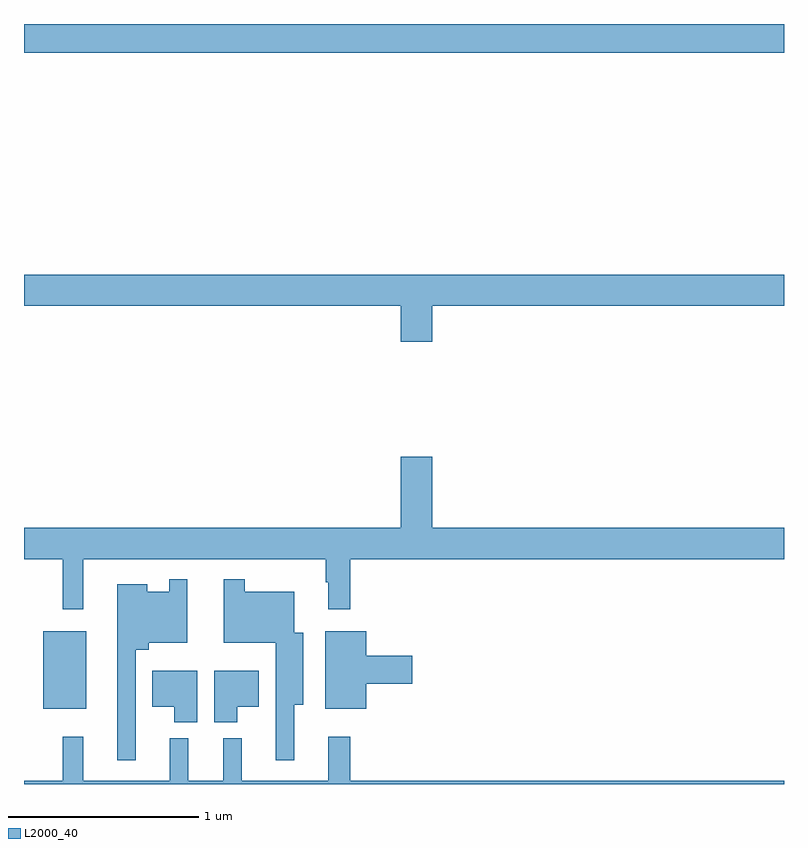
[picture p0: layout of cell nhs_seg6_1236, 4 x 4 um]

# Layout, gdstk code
import gdstk
lib = gdstk.Library(unit=1e-6, precision=1e-09)
def R(c, l, rs):  # rectangles x0, y0, x1, y1
    for r in rs: c.add(gdstk.rectangle(r[:2], r[2:], *l))
def P(c, l, *ps):  # polygons
    for p in ps: c.add(gdstk.Polygon(p, *l))
L2000_40 = (2000, 40)

nhs_seg6_1236 = lib.new_cell('nhs_seg6_1236')
R(nhs_seg6_1236, L2000_40, [(187.1,931.895,187.327,932.305), (187,935.348,191,935.5)])
P(nhs_seg6_1236, L2000_40, [(189.148,934.016),(191,934.016),(191,934.18),(187,934.18),(187,934.016),(188.984,934.016),(188.984,933.828),(189.148,933.828)],
  [(187.312,932.684),(188.589,932.684),(188.589,932.561),(188.6,932.561),(188.6,932.421),(188.717,932.421),(188.717,932.684),(191,932.684),(191,932.848),(189.148,932.848),(189.148,933.223),(188.984,933.223),(188.984,932.848),(187,932.848),(187,932.684),(187.203,932.684),(187.203,932.421),(187.312,932.421)],
  [(188.423,931.916),(188.47,931.916),(188.47,932.296),(188.422,932.296),(188.422,932.512),(188.161,932.512),(188.161,932.578),(188.052,932.578),(188.052,932.243),(188.325,932.243),(188.325,931.626),(188.423,931.626)],
  [(187.587,932.207),(187.656,932.207),(187.656,932.243),(187.86,932.243),(187.86,932.578),(187.764,932.578),(187.764,932.512),(187.648,932.512),(187.648,932.551),(187.49,932.551),(187.49,931.626),(187.587,931.626)],
  [(188.8,932.027),(189.043,932.027),(189.043,932.174),(188.8,932.174),(188.8,932.305),(188.585,932.305),(188.585,931.895),(188.8,931.895)],
  [(187.912,932.095),(187.676,932.095),(187.676,931.907),(187.79,931.907),(187.79,931.826),(187.912,931.826)],
  [(188.122,931.907),(188.236,931.907),(188.236,932.095),(188,932.095),(188,931.826),(188.122,931.826)],
  [(191,931.516),(188.717,931.516),(188.717,931.75),(188.6,931.75),(188.6,931.516),(188.147,931.516),(188.147,931.741),(188.048,931.741),(188.048,931.516),(187.865,931.516),(187.865,931.741),(187.766,931.741),(187.766,931.516),(187.313,931.516),(187.313,931.75),(187.203,931.75),(187.203,931.516),(187,931.516),(187,931.5),(191,931.5)])

lib.write_gds('nhs_seg6_1236.gds')
